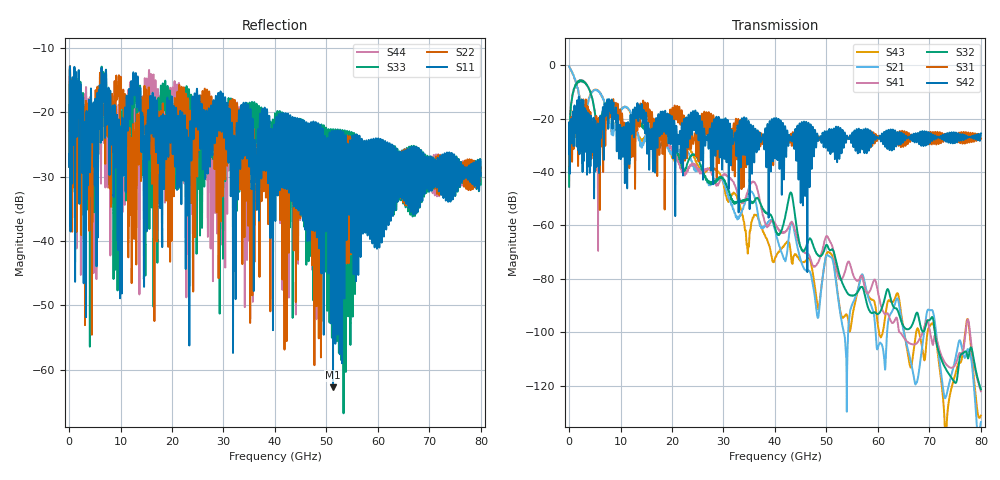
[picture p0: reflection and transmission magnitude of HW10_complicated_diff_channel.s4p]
! Created Sun Apr 14 21:42:27 2024
# hz S ma R 50
! 4 Port Network Data from SP1.SP block
! freq  magS11  angS11  magS12  angS12  magS13  angS13  magS14  angS14
!  magS21  angS21  magS22  angS22  magS23  angS23  magS24  angS24
!  magS31  angS31  magS32  angS32  magS33  angS33  magS34  angS34
!  magS41  angS41  magS42  angS42  magS43  angS43  magS44  angS44
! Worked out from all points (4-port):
!   8000 points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, 10 MHz to 80 GHz, reference 50 ohm
!   strongest paths, dB at 10 MHz, 20.01 GHz, 40.01 GHz, 60.01 GHz, 80 GHz:
!     S42: -33.2, -19.3, -29.4, -27.2, -25.5
!     S31: -33.2, -17.2, -28.8, -26.4, -27.6
!     S32: -45.5, -29.3, -61.0, -93.2, -121.4
!     S41: -45.5, -31.4, -59.3, -85.0, -122.1
!     S21: -0.3, -33.2, -61.9, -105.7, -133.6
!     S43: -0.3, -34.6, -72.1, -97.7, -131.2
!   lowest |S11| = -62.8 dB at 51.28 GHz (marker M1), VSWR 1.00, Z = 49.9 - j0.0319 ohm
!   |S11| at or under -10 dB: start of sweep to end of sweep
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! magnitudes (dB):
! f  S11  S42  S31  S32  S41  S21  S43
! 10 MHz  -28.5  -33.2  -33.2  -45.5  -45.5  -0.3  -0.3
! 720 MHz  -14.8  -18.8  -19.2  -10.5  -10.5  -3.4  -3.4
! 2.64 GHz  -20.7  -27.0  -23.1  -5.8  -5.7  -23.0  -21.9
! 5.67 GHz  -23.5  -31.0  -22.3  -31.8  -45.0  -9.7  -9.5
! 8.43 GHz  -21.4  -23.7  -21.7  -13.5  -13.6  -23.8  -24.1
! 51.28 GHz  -62.8  -28.8  -24.6  -69.3  -68.9  -73.5  -72.5
! 80 GHz  -29.8  -25.5  -27.6  -121.4  -122.1  -133.6  -131.2
